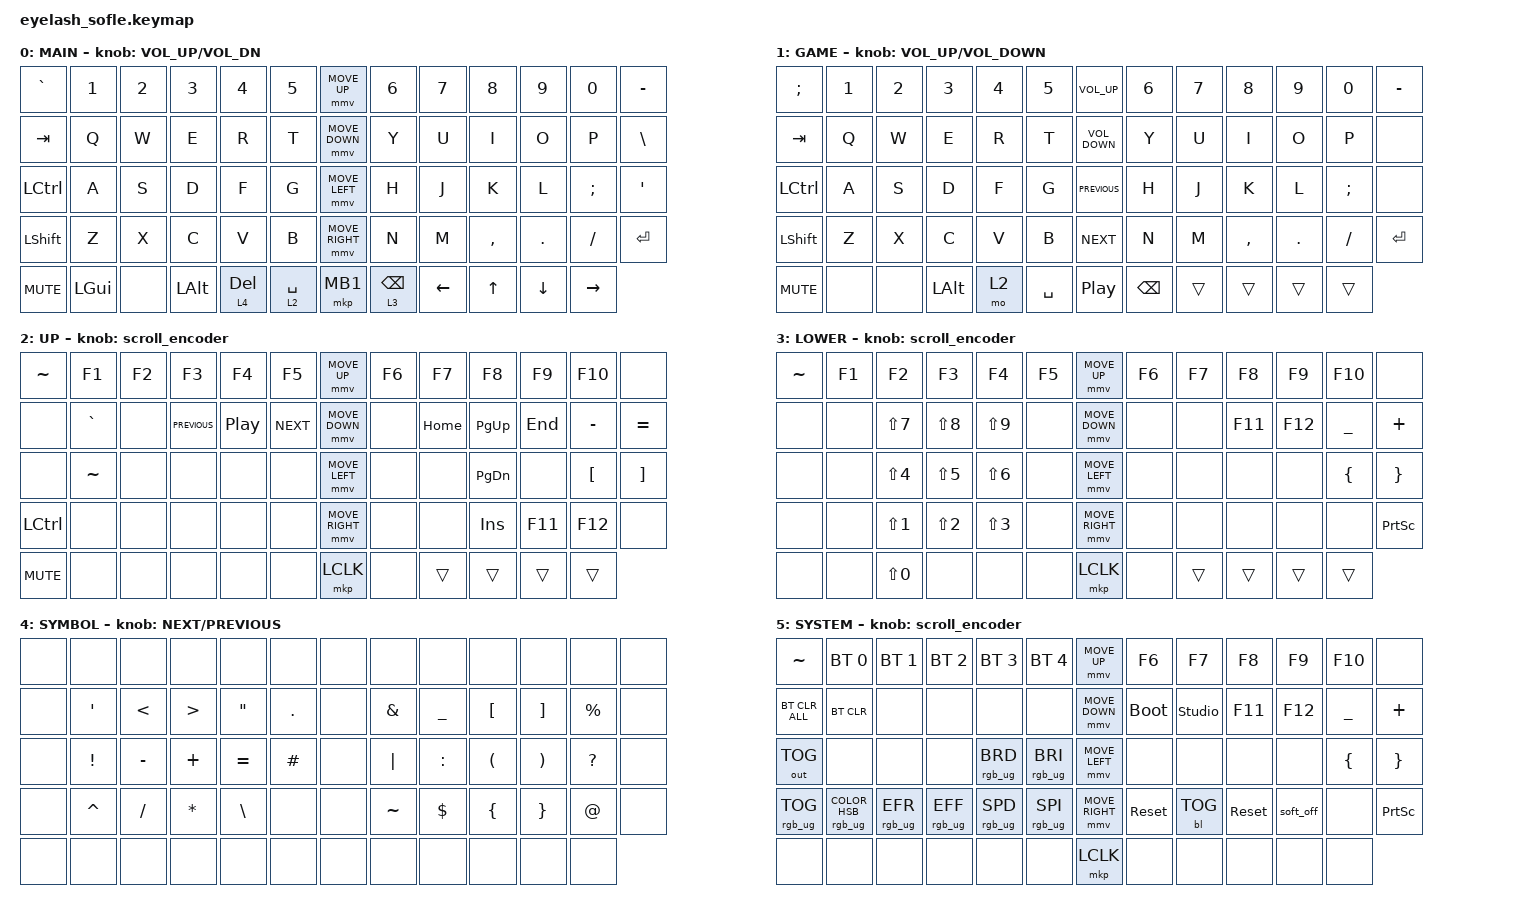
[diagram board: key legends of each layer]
#define ZMK_POINTING_DEFAULT_MOVE_VAL 1200  // 600
#define ZMK_POINTING_DEFAULT_SCRL_VAL 25   // 10

#include <input/processors.dtsi>
#include <zephyr/dt-bindings/input/input-event-codes.h>
#include <behaviors.dtsi>
#include <dt-bindings/zmk/backlight.h>
#include <dt-bindings/zmk/bt.h>
#include <dt-bindings/zmk/keys.h>
#include <dt-bindings/zmk/outputs.h>
#include <dt-bindings/zmk/pointing.h>
#include <dt-bindings/zmk/rgb.h>

&mmv_input_listener { input-processors = <&zip_xy_scaler 2 1>; };

&msc_input_listener { input-processors = <&zip_scroll_scaler 2 1>; };

&msc {
    acceleration-exponent = <1>;      // 0
    time-to-max-speed-ms = <100>;       // 300
    delay-ms = <0>;                   // 0
};

&mmv {
    time-to-max-speed-ms = <500>;
    acceleration-exponent = <1>;
    trigger-period-ms = <16>;
};

/ {
    scroll_encoder: scroll_encoder {
        compatible = "zmk,behavior-sensor-rotate";
        #sensor-binding-cells = <0>;
        bindings = <&msc SCRL_DOWN>, <&msc SCRL_UP>;

        tap-ms = <100>;
    };

    behaviors {
    };

    combos {
        compatible = "zmk,combos";

        enter {
            bindings = <&kp ENTER>;
            key-positions = <34 35 36>;
        };

        esc {
            bindings = <&kp ESCAPE>;
            key-positions = <0 13>;
        };

        caps {
            bindings = <&kp CLCK>;
            key-positions = <13 14>;
        };

        delete {
            bindings = <&kp DEL>;
            key-positions = <18 31>;
        };

        maintogame {
            bindings = <&to 1>;
            key-positions = <53 54>;
            layers = <0>;
        };

        gametomain {
            bindings = <&to 0>;
            key-positions = <53 54>;
            layers = <1>;
        };

        system {
            bindings = <&mo 5>;
            key-positions = <63 62>;
        };
    };

    keymap {
        compatible = "zmk,keymap";

        MAIN {
            bindings = <
&kp GRAVE         &kp N1        &kp N2  &kp N3        &kp N4        &kp N5         &mmv MOVE_UP     &kp N6           &kp N7    &kp N8        &kp N9    &kp N0     &kp MINUS
&kp TAB           &kp Q         &kp W   &kp E         &kp R         &kp T          &mmv MOVE_DOWN   &kp Y            &kp U     &kp I         &kp O     &kp P      &kp BSLH
&kp LEFT_CONTROL  &kp A         &kp S   &kp D         &kp F         &kp G          &mmv MOVE_LEFT   &kp H            &kp J     &kp K         &kp L     &kp SEMI   &kp APOS
&kp LEFT_SHIFT    &kp Z         &kp X   &kp C         &kp V         &kp B          &mmv MOVE_RIGHT  &kp N            &kp M     &kp COMMA     &kp DOT   &kp FSLH   &kp ENTER
&kp C_MUTE        &kp LEFT_GUI  &none   &kp LEFT_ALT  &lt 4 DELETE  &lt 2 SPACE    &mkp MB1         &lt 3 BACKSPACE  &kp LEFT  &kp UP_ARROW  &kp DOWN  &kp RIGHT
            >;

            sensor-bindings = <&inc_dec_kp C_VOLUME_UP C_VOL_DN>;
            display-name = "MAIN";
        };

        GAME {
            bindings = <
&kp SEMICOLON     &kp N1  &kp N2  &kp N3        &kp N4  &kp N5       &kp C_VOLUME_UP    &kp N6    &kp N7  &kp N8     &kp N9   &kp N0    &kp MINUS
&kp TAB           &kp Q   &kp W   &kp E         &kp R   &kp T        &kp C_VOLUME_DOWN  &kp Y     &kp U   &kp I      &kp O    &kp P     &none
&kp LEFT_CONTROL  &kp A   &kp S   &kp D         &kp F   &kp G        &kp C_PREVIOUS     &kp H     &kp J   &kp K      &kp L    &kp SEMI  &none
&kp LEFT_SHIFT    &kp Z   &kp X   &kp C         &kp V   &kp B        &kp C_NEXT         &kp N     &kp M   &kp COMMA  &kp DOT  &kp FSLH  &kp RET
&kp C_MUTE        &none   &none   &kp LEFT_ALT  &mo 2   &kp SPACE    &kp C_PLAY_PAUSE   &kp BSPC  &trans  &trans     &trans   &trans
            >;

            label = "GAME";
            sensor-bindings = <&inc_dec_kp C_VOLUME_UP C_VOLUME_DOWN>;
        };

        RAISE {
            bindings = <
&kp TILDE   &kp F1     &kp F2  &kp F3          &kp F4            &kp F5        &mmv MOVE_UP     &kp F6  &kp F7    &kp F8         &kp F9   &kp F10           &none
&none       &kp GRAVE  &none   &kp C_PREVIOUS  &kp C_PLAY_PAUSE  &kp C_NEXT    &mmv MOVE_DOWN   &none   &kp HOME  &kp PG_UP      &kp END  &kp MINUS         &kp EQUAL
&none       &kp TILDE  &none   &none           &none             &none         &mmv MOVE_LEFT   &none   &none     &kp PAGE_DOWN  &none    &kp LEFT_BRACKET  &kp RIGHT_BRACKET
&kp LCTRL   &none      &none   &none           &none             &none         &mmv MOVE_RIGHT  &none   &none     &kp INSERT     &kp F11  &kp F12           &none
&kp C_MUTE  &none      &none   &none           &none             &none         &mkp LCLK        &none   &trans    &trans         &trans   &trans
            >;

            display-name = "UP";
            sensor-bindings = <&scroll_encoder>;
            label = "RAISE";
        };

        LOWER {
            bindings = <
&kp TILDE  &kp F1  &kp F2            &kp F3      &kp F4      &kp F5    &mmv MOVE_UP     &kp F6  &kp F7  &kp F8   &kp F9   &kp F10    &none
&none      &none   &kp LS(N7)        &kp LS(N8)  &kp LS(N9)  &none     &mmv MOVE_DOWN   &none   &none   &kp F11  &kp F12  &kp UNDER  &kp PLUS
&none      &none   &kp LS(NUMBER_4)  &kp LS(N5)  &kp LS(N6)  &none     &mmv MOVE_LEFT   &none   &none   &none    &none    &kp LBRC   &kp RBRC
&none      &none   &kp LS(N1)        &kp LS(N2)  &kp LS(N3)  &none     &mmv MOVE_RIGHT  &none   &none   &none    &none    &none      &kp PRINTSCREEN
&none      &none   &kp LS(NUMBER_0)  &none       &none       &none     &mkp LCLK        &none   &trans  &trans   &trans   &trans
            >;

            sensor-bindings = <&scroll_encoder>;
            label = "LOWER";
        };

        SYMBOL {
            bindings = <
&none  &none      &none          &none             &none              &none         &none  &none          &none       &none                 &none                  &none         &none
&none  &kp APOS   &kp LESS_THAN  &kp GREATER_THAN  &kp DOUBLE_QUOTES  &kp PERIOD    &none  &kp AMPERSAND  &kp UNDER   &kp LEFT_BRACKET      &kp RIGHT_BRACKET      &kp PERCENT   &none
&none  &kp EXCL   &kp MINUS      &kp PLUS          &kp EQUAL          &kp HASH      &none  &kp PIPE       &kp COLON   &kp LEFT_PARENTHESIS  &kp RIGHT_PARENTHESIS  &kp QUESTION  &none
&none  &kp CARET  &kp SLASH      &kp ASTERISK      &kp BACKSLASH      &none         &none  &kp TILDE      &kp DOLLAR  &kp LEFT_BRACE        &kp RIGHT_BRACE        &kp AT_SIGN   &none
&none  &none      &none          &none             &none              &none         &none  &none          &none       &none                 &none                  &none
            >;

            sensor-bindings = <&inc_dec_kp C_NEXT C_PREVIOUS>;
            label = "SYMBOL";
        };

        SYSTEM {
            label = "SYSTEM";
            bindings = <
&kp TILDE        &bt BT_SEL 0                      &bt BT_SEL 1     &bt BT_SEL 2     &bt BT_SEL 3     &bt BT_SEL 4       &mmv MOVE_UP     &kp F6       &kp F7          &kp F8      &kp F9     &kp F10    &none
&bt BT_CLR_ALL   &bt BT_CLR                        &none            &none            &none            &none              &mmv MOVE_DOWN   &bootloader  &studio_unlock  &kp F11     &kp F12    &kp UNDER  &kp PLUS
&out OUT_TOG     &none                             &none            &none            &rgb_ug RGB_BRD  &rgb_ug RGB_BRI    &mmv MOVE_LEFT   &none        &none           &none       &none      &kp LBRC   &kp RBRC
&rgb_ug RGB_TOG  &rgb_ug RGB_COLOR_HSB(226,91,42)  &rgb_ug RGB_EFR  &rgb_ug RGB_EFF  &rgb_ug RGB_SPD  &rgb_ug RGB_SPI    &mmv MOVE_RIGHT  &sys_reset   &bl BL_TOG      &sys_reset  &soft_off  &none      &kp PRINTSCREEN
&none            &none                             &none            &none            &none            &none              &mkp LCLK        &none        &none           &none       &none      &none
            >;

            sensor-bindings = <&scroll_encoder>;
        };
    };
};
